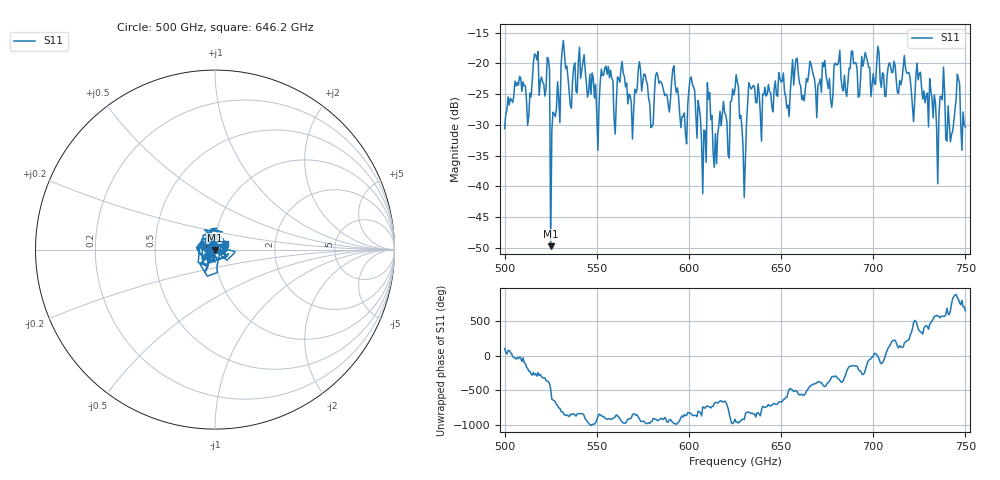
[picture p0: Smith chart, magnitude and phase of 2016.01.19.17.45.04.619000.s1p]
!Created with skrf (http://scikit-rf.org).
# GHz S RI R 50.0
!freq ReS11 ImS11
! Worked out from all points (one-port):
!   401 points, 500 GHz to 750 GHz, reference 50 ohm
!   lowest |S11| = -49.7 dB at 525 GHz (marker M1), VSWR 1.01, Z = 49.8 - j0.274 ohm
!   |S11| at or under -10 dB: start of sweep to end of sweep
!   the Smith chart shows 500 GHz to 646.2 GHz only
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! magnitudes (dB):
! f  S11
! 500 GHz  -30.6
! 506.9 GHz  -23.1
! 513.1 GHz  -28.5
! 516.9 GHz  -18.6
! 523.1 GHz  -19.0
! 525 GHz  -49.7
! 526.2 GHz  -27.9
! 531.2 GHz  -17.8
! 541.9 GHz  -21.0
! 550 GHz  -28.1
! 562.5 GHz  -23.0
! 568.8 GHz  -26.5
! 576.2 GHz  -21.8
! 579.4 GHz  -30.5
! 583.1 GHz  -22.0
! 593.8 GHz  -24.0
! 597.5 GHz  -28.1
! 601.9 GHz  -23.4
! 608.1 GHz  -30.8
! 611.2 GHz  -24.7
! 614.4 GHz  -31.4
! 625 GHz  -24.1
! 630 GHz  -41.8
! 633.8 GHz  -24.2
! 656.2 GHz  -19.4
! 687.5 GHz  -20.8
! 718.8 GHz  -21.6
! 750 GHz  -30.3
